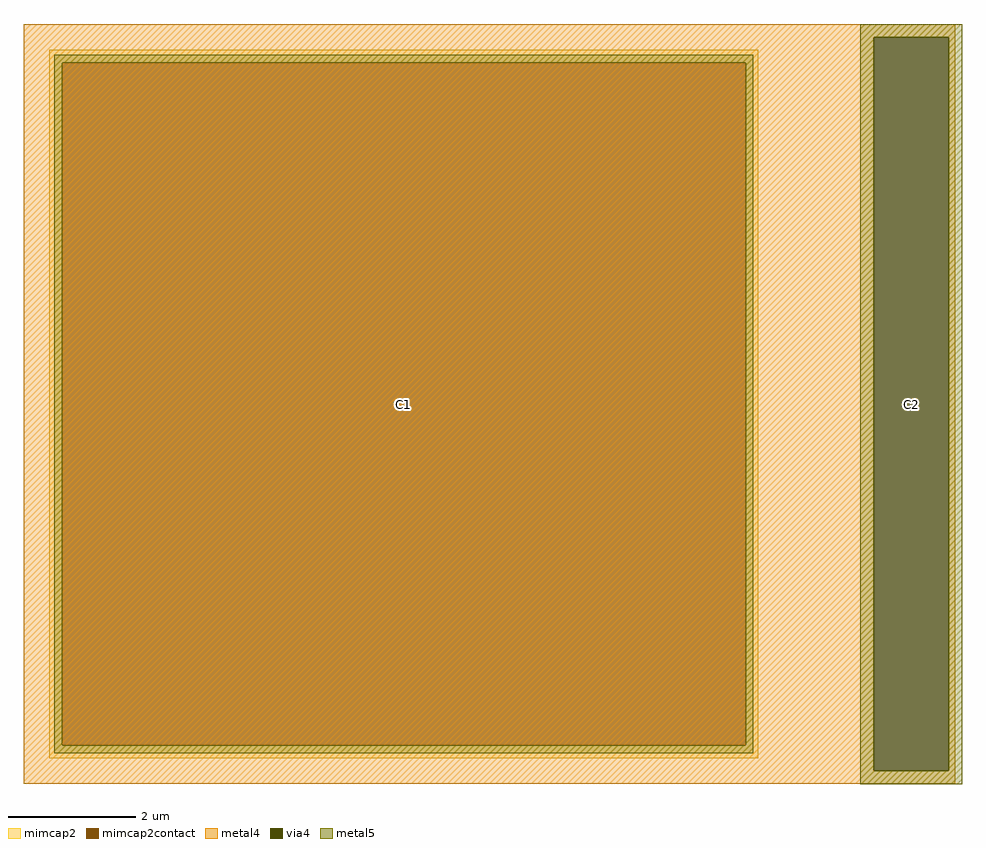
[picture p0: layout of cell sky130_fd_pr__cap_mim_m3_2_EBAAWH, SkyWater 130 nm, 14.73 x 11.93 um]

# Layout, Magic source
magic
tech sky130A
magscale 1 2
<< metal4 >>
rect -1462 1151 1462 1192
rect -1462 -1151 1206 1151
rect 1442 -1151 1462 1151
rect -1462 -1192 1462 -1151
<< via4 >>
rect 1206 -1151 1442 1151
<< mimcap2 >>
rect -1382 1072 844 1112
rect -1382 -1072 -1342 1072
rect 804 -1072 844 1072
rect -1382 -1112 844 -1072
<< mimcap2contact >>
rect -1342 -1072 804 1072
<< metal5 >>
rect 1164 1151 1484 1193
rect -1366 1072 828 1096
rect -1366 -1072 -1342 1072
rect 804 -1072 828 1072
rect -1366 -1096 828 -1072
rect 1164 -1151 1206 1151
rect 1442 -1151 1484 1151
rect 1164 -1193 1484 -1151
<< labels >>
rlabel via4 1324 0 1324 0 0 C2
port 3 nsew
rlabel mimcap2contact -269 0 -269 0 0 C1
port 4 nsew
<< properties >>
string FIXED_BBOX -1462 -1192 924 1192
string gencell sky130_fd_pr__cap_mim_m3_2
string library sky130
string parameters w 11.13 l 11.12 val 255.986 carea 2.00 cperi 0.19 class capacitor nx 1 ny 1 dummy 0 square 0 lmin 2.00 wmin 2.00 lmax 30.0 wmax 30.0 dc 0 bconnect 1 tconnect 1 ccov 100 doports 1
<< end >>
